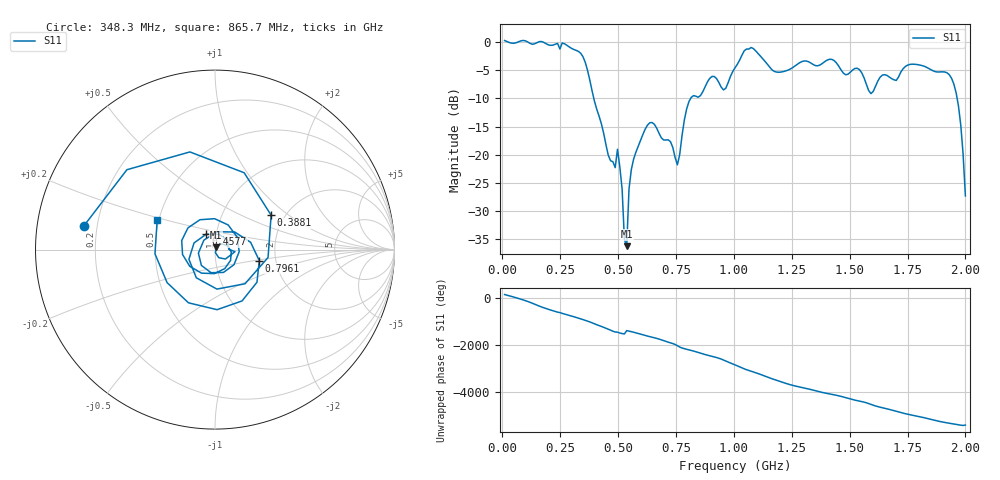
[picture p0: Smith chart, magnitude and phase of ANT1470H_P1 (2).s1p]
!Created with skrf (http://scikit-rf.org).
# Hz S RI R 50.0
!freq ReS11 ImS11
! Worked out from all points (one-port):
!   201 points, 10 MHz to 2 GHz, reference 50 ohm
!   lowest |S11| = -36.2 dB at 537.4 MHz (marker M1), VSWR 1.03, Z = 50.7 + j1.37 ohm
!   |S11| at or under -10 dB: 395.3 MHz to 813.4 MHz (418.1 MHz wide, 69.2 % of centre); 1.964 GHz to end of sweep
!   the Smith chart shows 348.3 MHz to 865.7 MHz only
!   S11 on the Smith chart (normalised r, x): 348.3 MHz: 0.15, +0.09; 388.1 MHz: 1.70, +0.75; 457.8 MHz: 0.89, +0.15; 796 MHz: 1.64, -0.22; 865.7 MHz: 0.49, +0.19
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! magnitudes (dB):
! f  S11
! 10 MHz  0.3
! 258.8 MHz  -0.1
! 348.3 MHz  -2.6
! 388.1 MHz  -8.7
! 457.8 MHz  -20.1
! 487.6 MHz  -22.3
! 497.6 MHz  -19.0
! 507.5 MHz  -22.1
! 517.5 MHz  -26.1
! 527.4 MHz  -35.1
! 537.4 MHz  -36.2
! 547.3 MHz  -26.1
! 557.2 MHz  -22.6
! 626.9 MHz  -14.8
! 726.4 MHz  -17.7
! 756.2 MHz  -21.8
! 796 MHz  -11.9
! 865.7 MHz  -8.8
! 965.2 MHz  -8.2
! 1.005 GHz  -4.6
! 1.075 GHz  -0.9
! 1.254 GHz  -4.5
! 1.502 GHz  -5.4
! 1.592 GHz  -9.1
! 1.751 GHz  -4.1
! 1.94 GHz  -6.4
! 1.98 GHz  -14.8
! 2 GHz  -27.3
